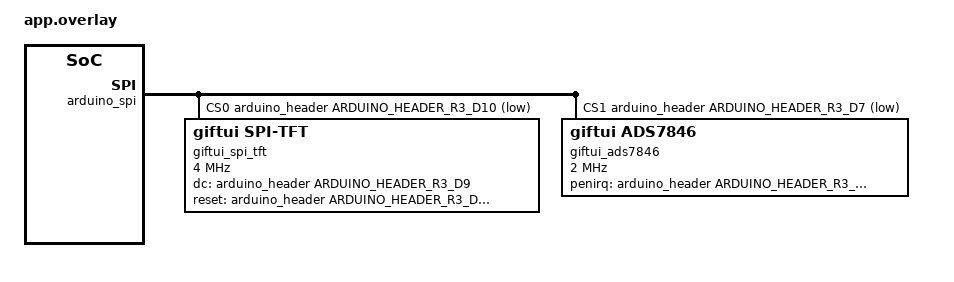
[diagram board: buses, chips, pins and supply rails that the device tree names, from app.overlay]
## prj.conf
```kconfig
CONFIG_FPU=y
CONFIG_BUILD_OUTPUT_HEX=y
CONFIG_OUTPUT_PRINT_MEMORY_USAGE=y
CONFIG_MAIN_STACK_SIZE=27648
CONFIG_HEAP_MEM_POOL_SIZE=0
CONFIG_COMMON_LIBC_MALLOC_ARENA_SIZE=0
CONFIG_MULTITHREADING=n
CONFIG_SERIAL=y
CONFIG_CONSOLE=y
CONFIG_UART_CONSOLE=y
CONFIG_PRINTK=y
CONFIG_STDOUT_CONSOLE=y
CONFIG_GPIO=y
CONFIG_SPI=y
CONFIG_INIT_STACKS=y
CONFIG_THREAD_STACK_INFO=y
CONFIG_BOOT_BANNER=n
CONFIG_LOG=n
```

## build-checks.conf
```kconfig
swift-entry-symbol=giftui_signal_analyzer_static_preset
required-symbol=giftui_signal_analyzer_capture_layout
required-symbol=giftui_signal_analyzer_capture_roundtrip
required-symbol=giftui_signal_analyzer_compact_fact_valid
required-symbol=giftui_signal_analyzer_presentation_fact_layout_valid
required-symbol=giftui_signal_analyzer_compact_ring_valid
required-symbol=giftui_signal_analyzer_snapshot_admission_valid
required-symbol=giftui_signal_analyzer_snapshot_view_valid
required-symbol=giftui_signal_analyzer_model_capture_replay_valid
required-symbol=giftui_signal_analyzer_capture_region_valid
required-symbol=giftui_signal_analyzer_region_map_valid
required-symbol=giftui_signal_analyzer_model_location_valid
required-symbol=giftui_signal_analyzer_diagnostic_value_valid
required-symbol=giftui_signal_analyzer_profile_storage
required-symbol=giftui_signal_analyzer_capture_storage
required-symbol=giftui_signal_analyzer_raster_staging
required-symbol=giftui_signal_analyzer_raster_coverage
required-symbol=giftui_signal_analyzer_storage_regions
required-symbol-size=giftui_signal_analyzer_profile_storage:39696
required-symbol-size=giftui_signal_analyzer_capture_storage:19392
required-symbol-size=giftui_signal_analyzer_raster_staging:2560
required-symbol-size=giftui_signal_analyzer_raster_coverage:160
required-symbol=spi_tft_initialize
required-symbol=spi_tft_shutdown
required-symbol=spi_tft_write_rgb565
required-symbol=ads7846_initialize
required-symbol=ads7846_shutdown
required-symbol=ads7846_read_raw
required-symbol=giftui_fault_record
required-symbol=giftui_production_host_run
required-symbol=giftui_touch_input_initialize
required-symbol=giftui_touch_input_update
required-symbol=giftui_touch_input_reset
required-symbol=giftui_static_input_bridge_submit
required-symbol=giftui_static_touch_pipeline_initialize
required-symbol=giftui_static_touch_pipeline_update
required-symbol=giftui_static_touch_pipeline_transport_reset
required-symbol=giftui_static_host_clock_now
required-symbol=giftui_static_host_wait_until
required-symbol=giftui_static_host_run
required-symbol=giftui_signal_analyzer_input_initialize
required-symbol=giftui_signal_analyzer_input_install_presentation
required-symbol=giftui_signal_analyzer_input_admit
required-symbol=giftui_signal_analyzer_input_pending_count
required-symbol=giftui_signal_analyzer_input_quiesce
zero-heap=true
```

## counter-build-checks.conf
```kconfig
# ADR-040 counter-only reservations; analyzer build-checks.conf is unchanged.
required-config=CONFIG_MAIN_STACK_SIZE:106496
required-config=CONFIG_ISR_STACK_SIZE:8192
required-ram-limit=262144
# Payload plus unchanged 64-byte MPU guard; final image proof remains mandatory.
required-symbol-size=z_main_stack:106560
required-symbol-size=z_interrupt_stacks:8256
swift-entry-symbol=giftui_rfc014_counter_entry
required-symbol=spi_tft_initialize
required-symbol=spi_tft_shutdown
required-symbol=spi_tft_write_rgb565
required-symbol=giftui_fault_record
zero-heap=true
```

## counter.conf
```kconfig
# Finite P08 counter only: ADR-040 / SPEC-015. Selected through --counter-build.
# These reservations exceed the reviewed complete main/ISR bounds; every new
# linked image still needs its own stack/address/allocator qualification.
CONFIG_MAIN_STACK_SIZE=106496
CONFIG_ISR_STACK_SIZE=8192
```

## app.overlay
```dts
#include <zephyr/dt-bindings/gpio/arduino-header-r3.h>

/ {
	aliases {
		giftui-ads7846 = &giftui_ads7846;
		giftui-spi-tft = &giftui_spi_tft;
	};
};

&arduino_spi {
	status = "okay";
	/* Existing bench wiring; confirm every module pin before connected use. */
	cs-gpios = <&arduino_header ARDUINO_HEADER_R3_D10 GPIO_ACTIVE_LOW>,
		     <&arduino_header ARDUINO_HEADER_R3_D7 GPIO_ACTIVE_LOW>;

	giftui_spi_tft: display@0 {
		compatible = "giftui,spi-tft";
		reg = <0>;
		spi-max-frequency = <4000000>;
		dc-gpios = <&arduino_header ARDUINO_HEADER_R3_D9 GPIO_ACTIVE_HIGH>;
		reset-gpios = <&arduino_header ARDUINO_HEADER_R3_D8 GPIO_ACTIVE_LOW>;
	};

	giftui_ads7846: touch@1 {
		compatible = "giftui,ads7846";
		reg = <1>;
		spi-max-frequency = <2000000>;
		penirq-gpios = <&arduino_header ARDUINO_HEADER_R3_D6 GPIO_ACTIVE_LOW>;
	};
};
```

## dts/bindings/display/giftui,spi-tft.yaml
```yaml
title: GiftUI project-local KMRTM24024-SPI direct-SPI display

description: |
  Hardware bring-up binding for the 240 x 320 KMRTM24024-SPI module. Commands,
  parameters, and RGB565 pixel bytes use native 8-bit SPI transfers. The
  application owns bounded transfers. The exact controller and electrical
  wiring require connected validation.

compatible: "giftui,spi-tft"

include: spi-device.yaml

properties:
  dc-gpios:
    type: phandle-array
    required: true
    description: Command/data select; active means pixel or command data.

  reset-gpios:
    type: phandle-array
    required: true
    description: Active-low controller hardware reset.

  backlight-gpios:
    type: phandle-array
    description: |
      Optional verified backlight enable. Omit until the module's backlight
      polarity and drive circuit have been confirmed on the exact board.
```

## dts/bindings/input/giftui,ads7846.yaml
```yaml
title: GiftUI project-local ADS7846 resistive touch controller

description: |
  Hardware bring-up binding for the ADS7846-compatible controller on the
  GiftUI PiScreen. The application owns sampling, filtering, and calibration.

compatible: "giftui,ads7846"

include: spi-device.yaml

properties:
  penirq-gpios:
    type: phandle-array
    required: true
    description: Active-low pen interrupt input.
```

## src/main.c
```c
#include <stdint.h>

#include "device_validation.h"
#include "spi_tft.h"
#include "production_host.h"
#include "static_host_storage.h"

extern uint32_t giftui_signal_analyzer_static_preset(void);
extern uint32_t giftui_signal_analyzer_topology_valid(
    void *profile, uint32_t bytes, void *capture, uint32_t capture_bytes);
extern uint32_t giftui_signal_analyzer_layout_scope_valid(
    void *profile, uint32_t bytes);
extern uint32_t giftui_signal_analyzer_layout_text_valid(
    void *profile, uint32_t bytes);
extern uint32_t giftui_signal_analyzer_full_layout_valid(
    void *profile, uint32_t bytes);
extern uint32_t giftui_signal_analyzer_drawing_storage_valid(
    void *profile, uint32_t bytes);
extern uint32_t giftui_signal_analyzer_full_canvas_valid(
    void *profile, uint32_t bytes, void *capture, uint32_t capture_bytes,
    void *raster, uint32_t raster_bytes,
    void *coverage, uint32_t coverage_bytes);
extern uint32_t giftui_signal_analyzer_tile_valid(
    void *raster, uint32_t raster_bytes,
    void *coverage, uint32_t coverage_bytes);
extern uint32_t giftui_signal_analyzer_canvas_payload_valid(
    void *profile, uint32_t bytes);
extern uint32_t giftui_signal_analyzer_source_valid(void);
extern uint32_t giftui_signal_analyzer_storage_bytes(void);
extern uint32_t giftui_signal_analyzer_capture_layout(void);
extern uint32_t giftui_signal_analyzer_capture_roundtrip(void);
extern uint32_t giftui_signal_analyzer_compact_fact_valid(void);
extern uint32_t giftui_signal_analyzer_presentation_fact_layout_valid(void);
extern uint32_t giftui_signal_analyzer_compact_ring_valid(
    void *profile, uint32_t bytes);
extern uint32_t giftui_signal_analyzer_snapshot_admission_valid(
    void *profile, uint32_t profile_bytes,
    void *capture, uint32_t capture_bytes);
extern uint32_t giftui_signal_analyzer_sealed_application_valid(
    void *profile, uint32_t profile_bytes,
    void *capture, uint32_t capture_bytes);
extern uint32_t giftui_signal_analyzer_repository_producer_valid(
    void *profile, uint32_t profile_bytes,
    void *capture, uint32_t capture_bytes);
extern uint32_t giftui_signal_analyzer_revision_failure_valid(
    void *profile, uint32_t profile_bytes,
    void *capture, uint32_t capture_bytes);
extern uint32_t giftui_signal_analyzer_model_location_valid(void);
extern uint32_t giftui_signal_analyzer_diagnostic_value_valid(void);
extern uint32_t giftui_signal_analyzer_capture_region_valid(
    void *address, uint32_t bytes);
extern uint32_t giftui_signal_analyzer_capture_history_valid(
    void *address, uint32_t bytes);
extern uint32_t giftui_signal_analyzer_snapshot_view_valid(
    void *address, uint32_t bytes);
extern uint32_t giftui_signal_analyzer_model_capture_replay_valid(
    void *address, uint32_t bytes);
extern uint32_t giftui_signal_analyzer_region_map_valid(
    void *profile, uint32_t profile_bytes,
    void *capture, uint32_t capture_bytes,
    void *raster, uint32_t raster_bytes,
    void *coverage, uint32_t coverage_bytes);

int main(void)
{
    struct giftui_static_host_storage regions;
    if (giftui_signal_analyzer_static_preset() != 360515885u ||
        giftui_signal_analyzer_source_valid() != 1u ||
        giftui_signal_analyzer_storage_bytes() != 61808u ||
        giftui_signal_analyzer_capture_layout() != 19392u ||
        giftui_signal_analyzer_capture_roundtrip() != 1u ||
        giftui_signal_analyzer_compact_fact_valid() != 1u ||
        giftui_signal_analyzer_presentation_fact_layout_valid() != 1u ||
        giftui_signal_analyzer_model_location_valid() != 1u ||
        giftui_signal_analyzer_diagnostic_value_valid() != 1u ||
        giftui_signal_analyzer_storage_regions(&regions) != 0 ||
        giftui_signal_analyzer_topology_valid(
            regions.profile, (uint32_t)regions.profile_bytes,
            regions.capture, (uint32_t)regions.capture_bytes) != 1u ||
        giftui_signal_analyzer_layout_scope_valid(
            regions.profile, (uint32_t)regions.profile_bytes) != 1u ||
        giftui_signal_analyzer_layout_text_valid(
            regions.profile, (uint32_t)regions.profile_bytes) != 1u ||
        giftui_signal_analyzer_full_layout_valid(
            regions.profile, (uint32_t)regions.profile_bytes) != 1u ||
        giftui_signal_analyzer_drawing_storage_valid(
            regions.profile, (uint32_t)regions.profile_bytes) != 1u ||
        giftui_signal_analyzer_canvas_payload_valid(
            regions.profile, (uint32_t)regions.profile_bytes) != 1u ||
        giftui_signal_analyzer_full_canvas_valid(
            regions.profile, (uint32_t)regions.profile_bytes,
            regions.capture, (uint32_t)regions.capture_bytes,
            regions.raster, (uint32_t)regions.raster_bytes,
            regions.coverage, (uint32_t)regions.coverage_bytes) != 1u ||
        giftui_signal_analyzer_tile_valid(
            regions.raster, (uint32_t)regions.raster_bytes,
            regions.coverage, (uint32_t)regions.coverage_bytes) != 1u ||
        regions.capture_bytes != GIFTUI_STATIC_CAPTURE_BYTES ||
        giftui_signal_analyzer_capture_region_valid(
            regions.capture, (uint32_t)regions.capture_bytes) != 1u ||
        giftui_signal_analyzer_capture_history_valid(
            regions.capture, (uint32_t)regions.capture_bytes) != 1u ||
        giftui_signal_analyzer_snapshot_view_valid(
            regions.capture, (uint32_t)regions.capture_bytes) != 1u ||
        giftui_signal_analyzer_model_capture_replay_valid(
            regions.capture, (uint32_t)regions.capture_bytes) != 1u ||
        giftui_signal_analyzer_region_map_valid(
            regions.profile, (uint32_t)regions.profile_bytes,
            regions.capture, (uint32_t)regions.capture_bytes,
            regions.raster, (uint32_t)regions.raster_bytes,
            regions.coverage, (uint32_t)regions.coverage_bytes) != 1u ||
        giftui_signal_analyzer_compact_ring_valid(
            regions.profile, (uint32_t)regions.profile_bytes) != 1u ||
        giftui_signal_analyzer_snapshot_admission_valid(
            regions.profile, (uint32_t)regions.profile_bytes,
            regions.capture, (uint32_t)regions.capture_bytes) != 1u ||
        giftui_signal_analyzer_sealed_application_valid(
            regions.profile, (uint32_t)regions.profile_bytes,
            regions.capture, (uint32_t)regions.capture_bytes) != 1u ||
        giftui_signal_analyzer_repository_producer_valid(
            regions.profile, (uint32_t)regions.profile_bytes,
            regions.capture, (uint32_t)regions.capture_bytes) != 1u ||
        giftui_signal_analyzer_revision_failure_valid(
            regions.profile, (uint32_t)regions.profile_bytes,
            regions.capture, (uint32_t)regions.capture_bytes) != 1u ||
        spi_tft_tile_height() != 4u ||
        spi_tft_spi_segment_bytes() != 2560u) {
        return 1;
    }
    return giftui_production_host_run();
}
```

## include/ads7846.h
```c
#ifndef GIFTUI_ADS7846_H
#define GIFTUI_ADS7846_H

#include <stdint.h>

struct ads7846_raw_sample {
    uint16_t x;
    uint16_t y;
    uint16_t z1;
    uint16_t z2;
};

#ifndef GIFTUI_DRIVER_ENTRY
#define GIFTUI_DRIVER_ENTRY __attribute__((used, retain))
#endif

GIFTUI_DRIVER_ENTRY int ads7846_initialize(void);
GIFTUI_DRIVER_ENTRY int ads7846_shutdown(void);
GIFTUI_DRIVER_ENTRY int ads7846_pen_is_down(void);
GIFTUI_DRIVER_ENTRY int ads7846_read_raw(struct ads7846_raw_sample *sample);
GIFTUI_DRIVER_ENTRY int ads7846_read_raw_values(uint16_t *x,
                            uint16_t *y,
                            uint16_t *z1,
                            uint16_t *z2);

#endif
```

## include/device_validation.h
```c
#ifndef GIFTUI_DEVICE_VALIDATION_H
#define GIFTUI_DEVICE_VALIDATION_H

int giftui_device_validation_run(void);

#endif
```

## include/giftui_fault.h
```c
#ifndef GIFTUI_FAULT_H
#define GIFTUI_FAULT_H

#include <stdint.h>

enum giftui_fault_category {
    GIFTUI_FAULT_CAPACITY = 0,
    GIFTUI_FAULT_DISPLAY_CONTROLLER,
    GIFTUI_FAULT_DISPLAY_SPI,
    GIFTUI_FAULT_TOUCH_CONTROLLER,
    GIFTUI_FAULT_TOUCH_SPI,
    GIFTUI_FAULT_CATEGORY_COUNT,
};

void giftui_fault_record(int32_t category, int32_t detail);
uint32_t giftui_fault_count(int32_t category);

#endif
```

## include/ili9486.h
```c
#ifndef GIFTUI_ILI9486_H
#define GIFTUI_ILI9486_H

#include <stddef.h>
#include <stdint.h>

#define GIFTUI_ILI9486_WIDTH 240U
#define GIFTUI_ILI9486_HEIGHT 320U
#define GIFTUI_ILI9486_BYTES_PER_PIXEL 2U
#define GIFTUI_ILI9486_TILE_HEIGHT 4U
#define GIFTUI_ILI9486_SPI_SEGMENT_BYTES 1920U
#define GIFTUI_ILI9486_MAX_TRANSFER_BYTES                                  \
    (GIFTUI_ILI9486_WIDTH * GIFTUI_ILI9486_TILE_HEIGHT *                  \
     GIFTUI_ILI9486_BYTES_PER_PIXEL)

#ifndef GIFTUI_DRIVER_ENTRY
#define GIFTUI_DRIVER_ENTRY __attribute__((used, retain))
#endif

GIFTUI_DRIVER_ENTRY int ili9486_initialize(void);
GIFTUI_DRIVER_ENTRY int ili9486_shutdown(void);
uint16_t ili9486_tile_height(void);
size_t ili9486_spi_segment_bytes(void);
GIFTUI_DRIVER_ENTRY int ili9486_write_rgb565(uint16_t x,
                         uint16_t y,
                         uint16_t width,
                         uint16_t height,
                         const uint8_t *pixels,
                         size_t byte_count);
GIFTUI_DRIVER_ENTRY int ili9486_fill_rgb565(uint16_t x,
                        uint16_t y,
                        uint16_t width,
                        uint16_t height,
                        uint16_t pixel);
GIFTUI_DRIVER_ENTRY int ili9486_render_color_bars(void);

#endif
```

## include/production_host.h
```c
#ifndef GIFTUI_PRODUCTION_HOST_H
#define GIFTUI_PRODUCTION_HOST_H

int giftui_production_host_run(void);

#endif
```

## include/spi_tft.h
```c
#ifndef GIFTUI_SPI_TFT_H
#define GIFTUI_SPI_TFT_H

#include <stddef.h>
#include <stdint.h>

#define GIFTUI_SPI_TFT_WIDTH 320U
#define GIFTUI_SPI_TFT_HEIGHT 240U
#define GIFTUI_SPI_TFT_BYTES_PER_PIXEL 2U
#define GIFTUI_SPI_TFT_TILE_HEIGHT 4U
#define GIFTUI_SPI_TFT_SPI_SEGMENT_BYTES 2560U
#define GIFTUI_SPI_TFT_MAX_TRANSFER_BYTES                                  \
    (GIFTUI_SPI_TFT_WIDTH * GIFTUI_SPI_TFT_TILE_HEIGHT *                  \
     GIFTUI_SPI_TFT_BYTES_PER_PIXEL)

#ifndef GIFTUI_DRIVER_ENTRY
#define GIFTUI_DRIVER_ENTRY __attribute__((used, retain))
#endif

GIFTUI_DRIVER_ENTRY int spi_tft_initialize(void);
GIFTUI_DRIVER_ENTRY int spi_tft_shutdown(void);
uint16_t spi_tft_tile_height(void);
size_t spi_tft_spi_segment_bytes(void);
GIFTUI_DRIVER_ENTRY int spi_tft_write_rgb565(uint16_t x,
                         uint16_t y,
                         uint16_t width,
                         uint16_t height,
                         const uint8_t *pixels,
                         size_t byte_count);
GIFTUI_DRIVER_ENTRY int spi_tft_fill_rgb565(uint16_t x,
                        uint16_t y,
                        uint16_t width,
                        uint16_t height,
                        uint16_t pixel);
GIFTUI_DRIVER_ENTRY int spi_tft_render_color_bars(void);

#endif
```

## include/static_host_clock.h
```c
#ifndef GIFTUI_STATIC_HOST_CLOCK_H
#define GIFTUI_STATIC_HOST_CLOCK_H

#include <stdint.h>

#ifndef GIFTUI_STATIC_HOST_CLOCK_ENTRY
#define GIFTUI_STATIC_HOST_CLOCK_ENTRY __attribute__((used, retain))
#endif

/* Monotonic microseconds for the generated host pacing controller. */
GIFTUI_STATIC_HOST_CLOCK_ENTRY int giftui_static_host_clock_now(
    uint64_t *timestamp_microseconds);

#endif
```

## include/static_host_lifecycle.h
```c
#ifndef GIFTUI_STATIC_HOST_LIFECYCLE_H
#define GIFTUI_STATIC_HOST_LIFECYCLE_H

#include "static_host_scheduler.h"

#include <stddef.h>
#include <stdint.h>

struct giftui_static_host_lifecycle_hal {
    int (*touch_initialize)(void);
    int (*display_initialize)(void);
    int (*touch_poll)(void);
    int (*display_shutdown)(void);
    int (*touch_shutdown)(void);
    struct giftui_static_host_scheduler_hal scheduler;
};

struct giftui_static_host_application {
    /* Borrowed only for the synchronous run; never retained by the C loop. */
    void *context;
    /* Validation is side-effect-free and precedes device construction. */
    int (*validate)(void *context);
    int (*activate)(void *context);
    /* A completed service supplies the next absolute deadline or stops. */
    int (*service)(void *context, uint64_t now_microseconds,
                   uint64_t *next_deadline_microseconds, int *stop);
    int (*teardown)(void *context);
};

/* Owns activation, paced service, and reverse-order teardown. */
int giftui_static_host_run(
    const struct giftui_static_host_lifecycle_hal *hal,
    const struct giftui_static_host_application *application);

#endif
```

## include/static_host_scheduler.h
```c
#ifndef GIFTUI_STATIC_HOST_SCHEDULER_H
#define GIFTUI_STATIC_HOST_SCHEDULER_H

#include <stdint.h>

struct giftui_static_host_scheduler_hal {
    int (*now_microseconds)(uint64_t *timestamp);
    void (*wait_microseconds)(uint32_t duration);
    /* Optional only when no hardware watchdog is active. */
    int (*service_watchdog)(void);
};

/* Waits against one absolute monotonic deadline in at most 1 ms slices. */
int giftui_static_host_wait_until(
    uint64_t deadline_microseconds,
    const struct giftui_static_host_scheduler_hal *hal);

#endif
```

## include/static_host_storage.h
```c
#ifndef GIFTUI_STATIC_HOST_STORAGE_H
#define GIFTUI_STATIC_HOST_STORAGE_H

#include <stddef.h>
#include <stdint.h>

enum {
    GIFTUI_STATIC_PROFILE_BYTES = 39696,
    GIFTUI_STATIC_CAPTURE_BYTES = 19392,
    GIFTUI_STATIC_RASTER_BYTES = 2560,
    GIFTUI_STATIC_COVERAGE_BYTES = 160,
};

struct giftui_static_host_storage {
    uint8_t *profile;
    size_t profile_bytes;
    uint8_t *capture;
    size_t capture_bytes;
    uint8_t *raster;
    size_t raster_bytes;
    uint8_t *coverage;
    size_t coverage_bytes;
};

/* All regions remain address-stable for the complete firmware lifetime. */
int giftui_signal_analyzer_storage_regions(struct giftui_static_host_storage *regions);
uint32_t giftui_signal_analyzer_storage_bytes(void);

#endif
```

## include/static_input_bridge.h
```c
#ifndef GIFTUI_STATIC_INPUT_BRIDGE_H
#define GIFTUI_STATIC_INPUT_BRIDGE_H

#include "touch_input.h"

#include <stdint.h>

#ifndef GIFTUI_STATIC_INPUT_ENTRY
#define GIFTUI_STATIC_INPUT_ENTRY __attribute__((used, retain))
#endif

GIFTUI_STATIC_INPUT_ENTRY int32_t giftui_signal_analyzer_input_initialize(
    uint16_t source);
GIFTUI_STATIC_INPUT_ENTRY int32_t giftui_signal_analyzer_input_install_presentation(
    uint32_t revision);
GIFTUI_STATIC_INPUT_ENTRY int32_t giftui_signal_analyzer_input_admit(
    uint8_t phase,
    uint16_t x,
    uint16_t y,
    uint32_t observed_presentation_revision,
    uint8_t prior_physical_sequence_is_complete);
GIFTUI_STATIC_INPUT_ENTRY uint16_t giftui_signal_analyzer_input_pending_count(void);
GIFTUI_STATIC_INPUT_ENTRY void giftui_signal_analyzer_input_quiesce(void);

GIFTUI_STATIC_INPUT_ENTRY int32_t giftui_static_input_bridge_submit(
    const struct giftui_touch_contact *contact,
    uint32_t observed_presentation_revision,
    uint8_t prior_physical_sequence_is_complete);

#endif
```

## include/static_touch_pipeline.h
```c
#ifndef GIFTUI_STATIC_TOUCH_PIPELINE_H
#define GIFTUI_STATIC_TOUCH_PIPELINE_H

#include "touch_input.h"

#include <stdint.h>

#ifndef GIFTUI_STATIC_TOUCH_ENTRY
#define GIFTUI_STATIC_TOUCH_ENTRY __attribute__((used, retain))
#endif

enum giftui_static_touch_pipeline_result {
    GIFTUI_STATIC_TOUCH_PIPELINE_INVALID = -1,
    GIFTUI_STATIC_TOUCH_PIPELINE_NONE = 0,
    GIFTUI_STATIC_TOUCH_PIPELINE_SUBMITTED = 1,
};

struct giftui_static_touch_pipeline {
    struct giftui_touch_input input;
    uint32_t observed_presentation_revision;
    uint8_t prior_physical_sequence_is_complete;
    uint8_t awaiting_observed_release;
    uint8_t valid;
};

GIFTUI_STATIC_TOUCH_ENTRY int giftui_static_touch_pipeline_initialize(
    struct giftui_static_touch_pipeline *pipeline,
    const struct giftui_touch_calibration *calibration,
    uint32_t observed_presentation_revision);

/* Replacement frames invalidate the current physical sequence until release. */
GIFTUI_STATIC_TOUCH_ENTRY int giftui_static_touch_pipeline_present(
    struct giftui_static_touch_pipeline *pipeline,
    uint32_t observed_presentation_revision);

GIFTUI_STATIC_TOUCH_ENTRY enum giftui_static_touch_pipeline_result
giftui_static_touch_pipeline_update(
    struct giftui_static_touch_pipeline *pipeline,
    uint8_t touching,
    const struct ads7846_raw_sample *sample,
    int32_t *admission_outcome);

GIFTUI_STATIC_TOUCH_ENTRY void giftui_static_touch_pipeline_transport_reset(
    struct giftui_static_touch_pipeline *pipeline);

#endif
```
